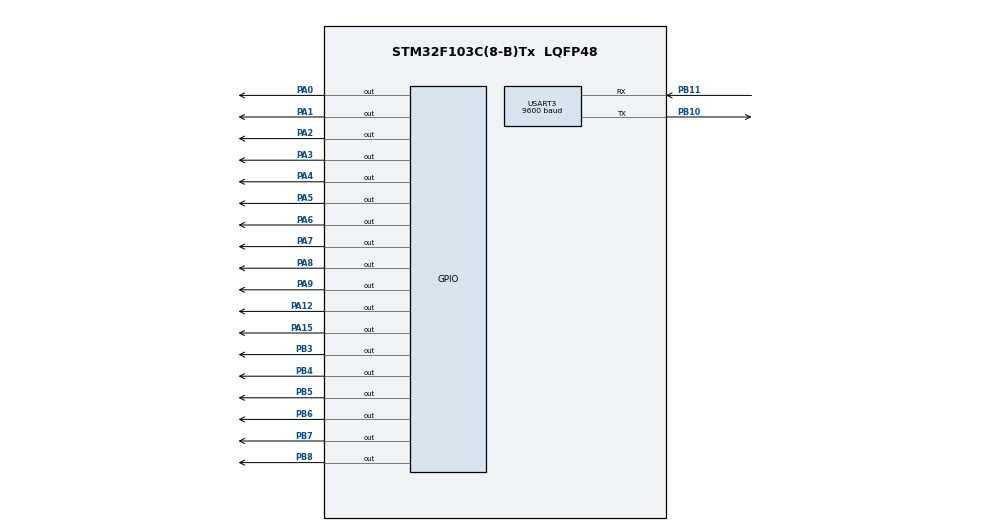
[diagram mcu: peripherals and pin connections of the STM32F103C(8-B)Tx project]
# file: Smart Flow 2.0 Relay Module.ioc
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Mcu.Family=STM32F1
Mcu.Name=STM32F103C(8-B)Tx
Mcu.Package=LQFP48
NVIC.PriorityGroup=NVIC_PRIORITYGROUP_4
NVIC.USART3_IRQn=true\:0\:0\:false\:false\:true\:true\:true\:true
PA0-WKUP.Signal=GPIO_Output
PA1.Signal=GPIO_Output
PA12.Signal=GPIO_Output
PA13.Mode=Serial_Wire
PA13.Signal=SYS_JTMS-SWDIO
PA14.Mode=Serial_Wire
PA14.Signal=SYS_JTCK-SWCLK
PA15.Signal=GPIO_Output
PA2.Signal=GPIO_Output
PA3.Signal=GPIO_Output
PA4.Signal=GPIO_Output
PA5.Signal=GPIO_Output
PA6.Signal=GPIO_Output
PA7.Signal=GPIO_Output
PA8.Signal=GPIO_Output
PA9.Signal=GPIO_Output
PB10.Mode=Asynchronous
PB10.Signal=USART3_TX
PB11.Mode=Asynchronous
PB11.Signal=USART3_RX
PB3.Signal=GPIO_Output
PB4.Signal=GPIO_Output
PB5.Signal=GPIO_Output
PB6.Signal=GPIO_Output
PB7.Signal=GPIO_Output
PB8.Signal=GPIO_Output
ProjectManager.HeapSize=0x200
ProjectManager.StackSize=0x400
ProjectManager.TargetToolchain=STM32CubeIDE
RCC.APB1Freq_Value=8000000
RCC.APB2Freq_Value=8000000
USART3.BaudRate=9600
USART3.VirtualMode=VM_ASYNC
board=custom

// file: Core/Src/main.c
/* USER CODE BEGIN Header */
/**
 ******************************************************************************
 * @file           : main.c
 * @brief          : Main program body
 ******************************************************************************
 * @attention
 *
 * Copyright (c) 2023 STMicroelectronics.
 * All rights reserved.
 *
 * This software is licensed under terms that can be found in the LICENSE file
 * in the root directory of this software component.
 * If no LICENSE file comes with this software, it is provided AS-IS.
 *
 ******************************************************************************
 */
/* USER CODE END Header */
#include "main.h"

/* USER CODE BEGIN Includes */
#include "string.h"
#include "stdio.h"
#include <stdbool.h>
/* USER CODE END Includes */

UART_HandleTypeDef huart3;

/* USER CODE BEGIN PV */

//Bluetooth
uint8_t rxData;
uint8_t rx_buffer[100] = { 0 };
uint8_t rx_index = 0;

//tap
uint8_t position = 0;
bool decrease;
bool increase;
/* USER CODE END PV */

void SystemClock_Config(void);
static void MX_GPIO_Init(void);
static void MX_USART3_UART_Init(void);

int main(void) {

	/* MCU Configuration--------------------------------------------------------*/

	/* Reset of all peripherals, Initializes the Flash interface and the Systick. */
	HAL_Init();

	/* Configure the system clock */
	SystemClock_Config();

	/* Initialize all configured peripherals */
	MX_GPIO_Init();
	MX_USART3_UART_Init();
	/* USER CODE BEGIN 2 */
	HAL_UART_Receive_IT(&huart3, &rxData, 1);
	HAL_GPIO_WritePin(GPIOA, GPIO_PIN_0, 0);
	HAL_GPIO_WritePin(GPIOA, GPIO_PIN_1, 0);
	HAL_GPIO_WritePin(GPIOA, GPIO_PIN_2, 0); //1
	HAL_GPIO_WritePin(GPIOA, GPIO_PIN_3, 0); //3
	HAL_GPIO_WritePin(GPIOA, GPIO_PIN_4, 0); //4
	HAL_GPIO_WritePin(GPIOA, GPIO_PIN_5, 0); //8
	HAL_GPIO_WritePin(GPIOA, GPIO_PIN_6, 0); //10
	HAL_GPIO_WritePin(GPIOA, GPIO_PIN_7, 0); //11
	HAL_GPIO_WritePin(GPIOB, GPIO_PIN_3, 0); //6
	HAL_GPIO_WritePin(GPIOB, GPIO_PIN_4, 0); //5
	HAL_GPIO_WritePin(GPIOB, GPIO_PIN_5, 0); //2
	HAL_GPIO_WritePin(GPIOB, GPIO_PIN_6, 0);
	HAL_GPIO_WritePin(GPIOB, GPIO_PIN_7, 0);
	HAL_GPIO_WritePin(GPIOB, GPIO_PIN_8, 0);
	HAL_GPIO_WritePin(GPIOA, GPIO_PIN_15, 0); //7
	HAL_GPIO_WritePin(GPIOA, GPIO_PIN_12, 0); //9
	/* USER CODE END 2 */

	/* Infinite loop */
	/* USER CODE BEGIN WHILE */
	while (1) {
		if (position != 0 && decrease) {
			HAL_GPIO_WritePin(GPIOA, GPIO_PIN_0, 1);
			HAL_GPIO_WritePin(GPIOA, GPIO_PIN_1, 0);
			HAL_Delay(100);
			HAL_GPIO_WritePin(GPIOA, GPIO_PIN_0, 0);
			HAL_GPIO_WritePin(GPIOA, GPIO_PIN_1, 0);
			decrease=false;
			position--;
		}
		if (position != 90 && increase) {
			HAL_GPIO_WritePin(GPIOA, GPIO_PIN_0, 0);
			HAL_GPIO_WritePin(GPIOA, GPIO_PIN_1, 1);
			HAL_Delay(100);
			HAL_GPIO_WritePin(GPIOA, GPIO_PIN_0, 0);
			HAL_GPIO_WritePin(GPIOA, GPIO_PIN_1, 0);
			increase=false;
			position++;
		}
		/* USER CODE END WHILE */

	}
}

void SystemClock_Config(void) {
	RCC_OscInitTypeDef RCC_OscInitStruct = { 0 };
	RCC_ClkInitTypeDef RCC_ClkInitStruct = { 0 };

	/** Initializes the RCC Oscillators according to the specified parameters
	 * in the RCC_OscInitTypeDef structure.
	 */
	RCC_OscInitStruct.OscillatorType = RCC_OSCILLATORTYPE_HSI;
	RCC_OscInitStruct.HSIState = RCC_HSI_ON;
	RCC_OscInitStruct.HSICalibrationValue = RCC_HSICALIBRATION_DEFAULT;
	RCC_OscInitStruct.PLL.PLLState = RCC_PLL_NONE;
	if (HAL_RCC_OscConfig(&RCC_OscInitStruct) != HAL_OK) {
		Error_Handler();
	}

	/** Initializes the CPU, AHB and APB buses clocks
	 */
	RCC_ClkInitStruct.ClockType = RCC_CLOCKTYPE_HCLK | RCC_CLOCKTYPE_SYSCLK
			| RCC_CLOCKTYPE_PCLK1 | RCC_CLOCKTYPE_PCLK2;
	RCC_ClkInitStruct.SYSCLKSource = RCC_SYSCLKSOURCE_HSI;
	RCC_ClkInitStruct.AHBCLKDivider = RCC_SYSCLK_DIV1;
	RCC_ClkInitStruct.APB1CLKDivider = RCC_HCLK_DIV1;
	RCC_ClkInitStruct.APB2CLKDivider = RCC_HCLK_DIV1;

	if (HAL_RCC_ClockConfig(&RCC_ClkInitStruct, FLASH_LATENCY_0) != HAL_OK) {
		Error_Handler();
	}
}

static void MX_USART3_UART_Init(void) {

	huart3.Instance = USART3;
	huart3.Init.BaudRate = 9600;
	huart3.Init.WordLength = UART_WORDLENGTH_8B;
	huart3.Init.StopBits = UART_STOPBITS_1;
	huart3.Init.Parity = UART_PARITY_NONE;
	huart3.Init.Mode = UART_MODE_TX_RX;
	huart3.Init.HwFlowCtl = UART_HWCONTROL_NONE;
	huart3.Init.OverSampling = UART_OVERSAMPLING_16;
	if (HAL_UART_Init(&huart3) != HAL_OK) {
		Error_Handler();
	}

}

static void MX_GPIO_Init(void) {
	GPIO_InitTypeDef GPIO_InitStruct = { 0 };

	/* GPIO Ports Clock Enable */
	__HAL_RCC_GPIOA_CLK_ENABLE();
	__HAL_RCC_GPIOB_CLK_ENABLE();

	/*Configure GPIO pin Output Level */
	HAL_GPIO_WritePin(GPIOA,
			GPIO_PIN_0 | GPIO_PIN_1 | GPIO_PIN_2 | GPIO_PIN_3 | GPIO_PIN_4
					| GPIO_PIN_5 | GPIO_PIN_6 | GPIO_PIN_7 | GPIO_PIN_8
					| GPIO_PIN_9 | GPIO_PIN_12 | GPIO_PIN_15, GPIO_PIN_RESET);

	/*Configure GPIO pin Output Level */
	HAL_GPIO_WritePin(GPIOB,
	GPIO_PIN_3 | GPIO_PIN_4 | GPIO_PIN_5 | GPIO_PIN_6 | GPIO_PIN_7 | GPIO_PIN_8,
			GPIO_PIN_RESET);

	/*Configure GPIO pins : PA0 PA1 PA2 PA3
	 PA4 PA5 PA6 PA7
	 PA8 PA9 PA12 PA15 */
	GPIO_InitStruct.Pin = GPIO_PIN_0 | GPIO_PIN_1 | GPIO_PIN_2 | GPIO_PIN_3
			| GPIO_PIN_4 | GPIO_PIN_5 | GPIO_PIN_6 | GPIO_PIN_7 | GPIO_PIN_8
			| GPIO_PIN_9 | GPIO_PIN_12 | GPIO_PIN_15;
	GPIO_InitStruct.Mode = GPIO_MODE_OUTPUT_PP;
	GPIO_InitStruct.Pull = GPIO_NOPULL;
	GPIO_InitStruct.Speed = GPIO_SPEED_FREQ_LOW;
	HAL_GPIO_Init(GPIOA, &GPIO_InitStruct);

	/*Configure GPIO pins : PB3 PB4 PB5 PB6
	 PB7 PB8 */
	GPIO_InitStruct.Pin = GPIO_PIN_3 | GPIO_PIN_4 | GPIO_PIN_5 | GPIO_PIN_6
			| GPIO_PIN_7 | GPIO_PIN_8;
	GPIO_InitStruct.Mode = GPIO_MODE_OUTPUT_PP;
	GPIO_InitStruct.Pull = GPIO_NOPULL;
	GPIO_InitStruct.Speed = GPIO_SPEED_FREQ_LOW;
	HAL_GPIO_Init(GPIOB, &GPIO_InitStruct);

}

/* USER CODE BEGIN 4 */
void HAL_UART_RxCpltCallback(UART_HandleTypeDef *huart) {
	if (huart->Instance == USART3) {
		if (rxData != 10) {
			rx_buffer[rx_index++] = rxData;
		} else if (strstr((char*) rx_buffer, "001")) {
			HAL_GPIO_WritePin(GPIOA, GPIO_PIN_2, 0);
			rx_index = 0;
			memset(rx_buffer, 0, sizeof(rx_buffer));
		} else if (strstr((char*) rx_buffer, "101")) {
			HAL_GPIO_WritePin(GPIOA, GPIO_PIN_2, 1);
			rx_index = 0;
			memset(rx_buffer, 0, sizeof(rx_buffer));
		} else if (strstr((char*) rx_buffer, "002")) {
			HAL_GPIO_WritePin(GPIOB, GPIO_PIN_5, 0);
			rx_index = 0;
			memset(rx_buffer, 0, sizeof(rx_buffer));
		} else if (strstr((char*) rx_buffer, "102")) {
			HAL_GPIO_WritePin(GPIOB, GPIO_PIN_5, 1);
			rx_index = 0;
			memset(rx_buffer, 0, sizeof(rx_buffer));
//		} else if (strstr((char*) rx_buffer, "003")) {
//			HAL_GPIO_WritePin(GPIOA, GPIO_PIN_3, 0);
//			rx_index = 0;
//			memset(rx_buffer, 0, sizeof(rx_buffer));
//		} else if (strstr((char*) rx_buffer, "103")) {
//			HAL_GPIO_WritePin(GPIOA, GPIO_PIN_3, 1);
//			rx_index = 0;
//			memset(rx_buffer, 0, sizeof(rx_buffer));
//		} else if (strstr((char*) rx_buffer, "004")) {
//			HAL_GPIO_WritePin(GPIOA, GPIO_PIN_4, 0);
//			rx_index = 0;
//			memset(rx_buffer, 0, sizeof(rx_buffer));
//		} else if (strstr((char*) rx_buffer, "104")) {
//			HAL_GPIO_WritePin(GPIOA, GPIO_PIN_4, 1);
//			rx_index = 0;
//			memset(rx_buffer, 0, sizeof(rx_buffer));
		} else if (strstr((char*) rx_buffer, "005")) {
			HAL_GPIO_WritePin(GPIOB, GPIO_PIN_4, 0);
			rx_index = 0;
			memset(rx_buffer, 0, sizeof(rx_buffer));
		} else if (strstr((char*) rx_buffer, "105")) {
			HAL_GPIO_WritePin(GPIOB, GPIO_PIN_4, 1);
			rx_index = 0;
			memset(rx_buffer, 0, sizeof(rx_buffer));
		} else if (strstr((char*) rx_buffer, "006")) {
			HAL_GPIO_WritePin(GPIOB, GPIO_PIN_3, 0);
			rx_index = 0;
			memset(rx_buffer, 0, sizeof(rx_buffer));
		} else if (strstr((char*) rx_buffer, "106")) {
			HAL_GPIO_WritePin(GPIOB, GPIO_PIN_3, 1);
			rx_index = 0;
			memset(rx_buffer, 0, sizeof(rx_buffer));
		} else if (strstr((char*) rx_buffer, "007")) {
			HAL_GPIO_WritePin(GPIOA, GPIO_PIN_15, 0);
			rx_index = 0;
			memset(rx_buffer, 0, sizeof(rx_buffer));
		} else if (strstr((char*) rx_buffer, "107")) {
			HAL_GPIO_WritePin(GPIOA, GPIO_PIN_15, 1);
			rx_index = 0;
			memset(rx_buffer, 0, sizeof(rx_buffer));
		} else if (strstr((char*) rx_buffer, "008")) {
			HAL_GPIO_WritePin(GPIOA, GPIO_PIN_5, 0);
			rx_index = 0;
			memset(rx_buffer, 0, sizeof(rx_buffer));
		} else if (strstr((char*) rx_buffer, "108")) {
			HAL_GPIO_WritePin(GPIOA, GPIO_PIN_5, 1);
			rx_index = 0;
			memset(rx_buffer, 0, sizeof(rx_buffer));
//		} else if (strstr((char*) rx_buffer, "009")) {
//			HAL_GPIO_WritePin(GPIOA, GPIO_PIN_12, 0);
//			rx_index = 0;
//			memset(rx_buffer, 0, sizeof(rx_buffer));
//		} else if (strstr((char*) rx_buffer, "109")) {
//			HAL_GPIO_WritePin(GPIOA, GPIO_PIN_12, 1);
//			rx_index = 0;
//			memset(rx_buffer, 0, sizeof(rx_buffer));
//		} else if (strstr((char*) rx_buffer, "010")) {
//			HAL_GPIO_WritePin(GPIOA, GPIO_PIN_6, 0);
//			rx_index = 0;
//			memset(rx_buffer, 0, sizeof(rx_buffer));
//		} else if (strstr((char*) rx_buffer, "110")) {
//			HAL_GPIO_WritePin(GPIOA, GPIO_PIN_6, 1);
//			rx_index = 0;
//			memset(rx_buffer, 0, sizeof(rx_buffer));
//		} else if (strstr((char*) rx_buffer, "011")) {
//			HAL_GPIO_WritePin(GPIOA, GPIO_PIN_7, 0);
//			rx_index = 0;
//			memset(rx_buffer, 0, sizeof(rx_buffer));
//		} else if (strstr((char*) rx_buffer, "111")) {
//			HAL_GPIO_WritePin(GPIOA, GPIO_PIN_7, 1);
//			rx_index = 0;
//			memset(rx_buffer, 0, sizeof(rx_buffer));
		} else if (strstr((char*) rx_buffer, "M0")) {
			if(position !=0)
			decrease = true;
			rx_index = 0;
			memset(rx_buffer, 0, sizeof(rx_buffer));
		} else if (strstr((char*) rx_buffer, "M1")) {
			if(position!=90)
			increase = true;
			rx_index = 0;
			memset(rx_buffer, 0, sizeof(rx_buffer));
		} else {
			rx_index = 0;
			memset(rx_buffer, 0, sizeof(rx_buffer));
		}

		HAL_UART_Receive_IT(&huart3, &rxData, 1);

	}
}
/* USER CODE END 4 */

void Error_Handler(void) {
	__disable_irq();
	while (1) {
	}
}
